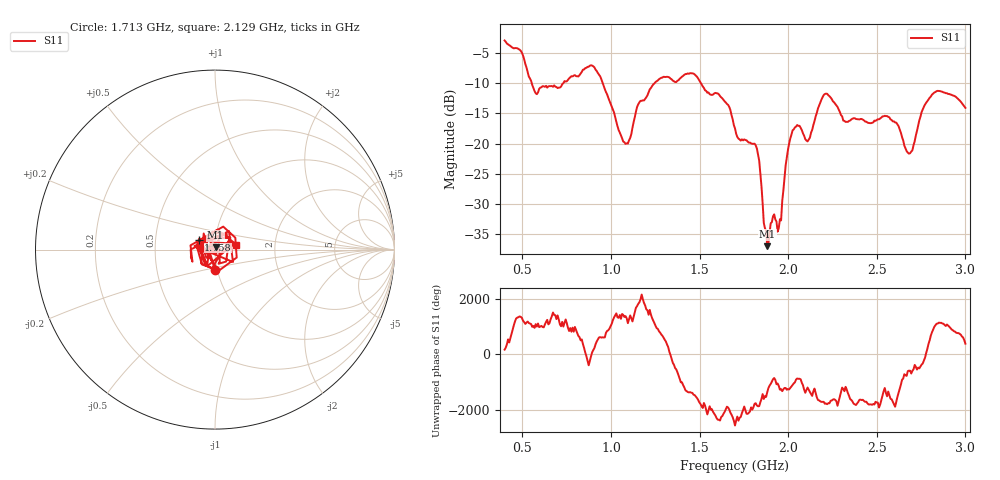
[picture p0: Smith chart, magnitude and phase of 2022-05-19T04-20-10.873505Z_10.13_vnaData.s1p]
!Created with skrf (http://scikit-rf.org).
# Hz S RI R 50.0
!freq ReS11 ImS11
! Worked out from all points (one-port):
!   401 points, 400 MHz to 3 GHz, reference 50 ohm
!   lowest |S11| = -37.1 dB at 1.882 GHz (marker M1), VSWR 1.03, Z = 50.3 + j1.38 ohm
!   |S11| at or under -10 dB: 553.5 MHz to 730 MHz (176.5 MHz wide, 27.5 % of centre); 953.9 MHz to 1.245 GHz (291.3 MHz wide, 26.5 % of centre); 1.508 GHz to end of sweep
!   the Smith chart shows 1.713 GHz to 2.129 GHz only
!   S11 on the Smith chart (normalised r, x): 1.713 GHz: 0.98, -0.22; 1.758 GHz: 0.83, +0.09; 2.129 GHz: 1.27, +0.07
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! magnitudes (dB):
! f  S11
! 400 MHz  -2.9
! 491 MHz  -4.6
! 575.5 MHz  -11.6
! 725 MHz  -10.1
! 900.5 MHz  -7.2
! 1.05 GHz  -18.2
! 1.095 GHz  -20.0
! 1.154 GHz  -13.5
! 1.258 GHz  -9.6
! 1.375 GHz  -9.6
! 1.472 GHz  -8.5
! 1.655 GHz  -13.4
! 1.7 GHz  -17.5
! 1.713 GHz  -18.9
! 1.758 GHz  -19.4
! 1.823 GHz  -20.8
! 1.882 GHz  -37.1
! 1.915 GHz  -32.1
! 1.954 GHz  -32.6
! 1.992 GHz  -22.3
! 2.025 GHz  -17.8
! 2.129 GHz  -18.2
! 2.213 GHz  -11.7
! 2.35 GHz  -16.2
! 2.558 GHz  -15.4
! 2.675 GHz  -21.5
! 2.825 GHz  -11.5
! 3 GHz  -14.1
